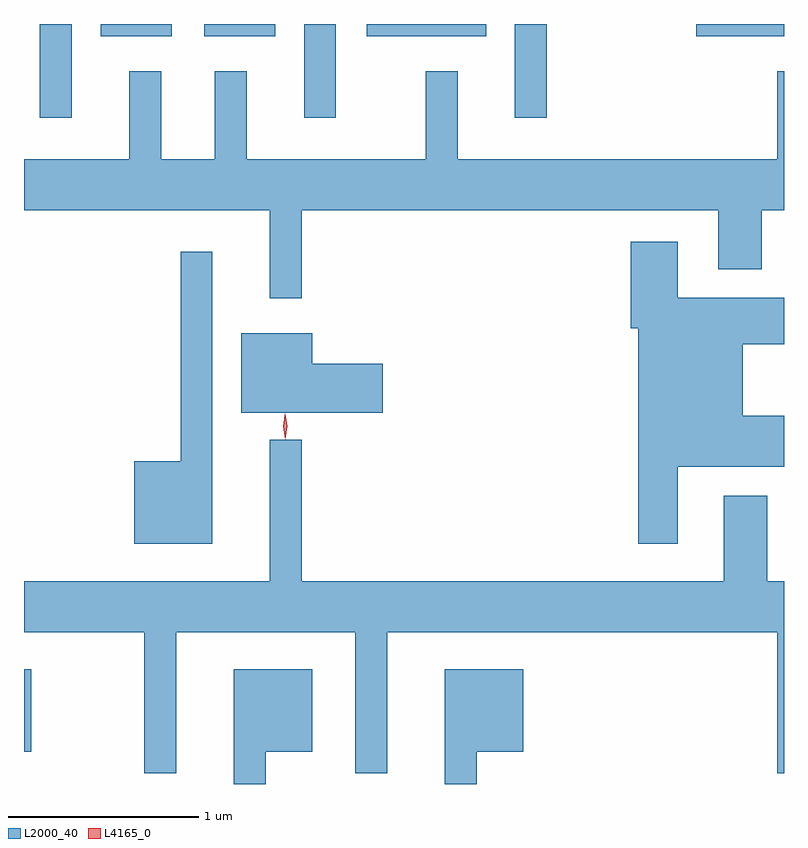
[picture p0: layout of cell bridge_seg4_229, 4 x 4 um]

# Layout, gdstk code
import gdstk
lib = gdstk.Library(unit=1e-6, precision=1e-09)
def R(c, l, rs):  # rectangles x0, y0, x1, y1
    for r in rs: c.add(gdstk.rectangle(r[:2], r[2:], *l))
def P(c, l, *ps):  # polygons
    for p in ps: c.add(gdstk.Polygon(p, *l))
L2000_40 = (2000, 40)
L4165_0 = (4165, 0)

bridge_seg4_229 = lib.new_cell('bridge_seg4_229')
R(bridge_seg4_229, L2000_40, [(729.387,1367.366,729.424,1367.799), (729.471,1370.703,729.639,1371.196), (730.861,1370.703,731.029,1371.196), (731.971,1370.703,732.139,1371.196), (729.791,1371.131,730.164,1371.196), (730.336,1371.131,730.709,1371.196), (731.191,1371.131,731.819,1371.196), (732.926,1371.131,733.387,1371.196)])
P(bridge_seg4_229, L2000_40, [(730.849,1370.216),(733.041,1370.216),(733.041,1369.906),(733.269,1369.906),(733.269,1370.216),(733.387,1370.216),(733.387,1370.948),(733.351,1370.948),(733.351,1370.484),(731.669,1370.484),(731.669,1370.948),(731.501,1370.948),(731.501,1370.484),(730.559,1370.484),(730.559,1370.948),(730.391,1370.948),(730.391,1370.484),(730.109,1370.484),(730.109,1370.948),(729.941,1370.948),(729.941,1370.484),(729.387,1370.484),(729.387,1370.216),(730.681,1370.216),(730.681,1369.753),(730.849,1369.753)],
  [(732.829,1368.866),(733.387,1368.866),(733.387,1369.134),(733.169,1369.134),(733.169,1369.511),(733.387,1369.511),(733.387,1369.754),(732.829,1369.754),(732.829,1370.049),(732.581,1370.049),(732.581,1369.596),(732.621,1369.596),(732.621,1368.461),(732.829,1368.461)],
  [(730.379,1369.998),(730.211,1369.998),(730.211,1368.894),(729.966,1368.894),(729.966,1368.461),(730.379,1368.461)],
  [(731.274,1369.409),(730.904,1369.409),(730.904,1369.569),(730.531,1369.569),(730.531,1369.151),(731.274,1369.151)],
  [(730.189,1367.996),(731.131,1367.996),(731.131,1367.253),(731.299,1367.253),(731.299,1367.996),(733.351,1367.996),(733.351,1367.253),(733.387,1367.253),(733.387,1368.264),(733.299,1368.264),(733.299,1368.714),(733.071,1368.714),(733.071,1368.264),(730.849,1368.264),(730.849,1369.008),(730.681,1369.008),(730.681,1368.264),(729.387,1368.264),(729.387,1367.996),(730.021,1367.996),(730.021,1367.253),(730.189,1367.253)],
  [(730.659,1367.366),(730.904,1367.366),(730.904,1367.799),(730.491,1367.799),(730.491,1367.196),(730.659,1367.196)],
  [(731.769,1367.366),(732.014,1367.366),(732.014,1367.799),(731.601,1367.799),(731.601,1367.196),(731.769,1367.196)])
P(bridge_seg4_229, L4165_0, [(730.762,1369.01),(730.762,1369.01),(730.752,1369.078),(730.761,1369.146),(730.761,1369.146),(730.762,1369.146),(730.772,1369.078),(730.762,1369.01)],
  [(730.762,1369.013),(730.762,1369.013),(730.751,1369.076),(730.76,1369.139),(730.761,1369.14),(730.761,1369.139),(730.771,1369.076),(730.762,1369.013)])

lib.write_gds('bridge_seg4_229.gds')
